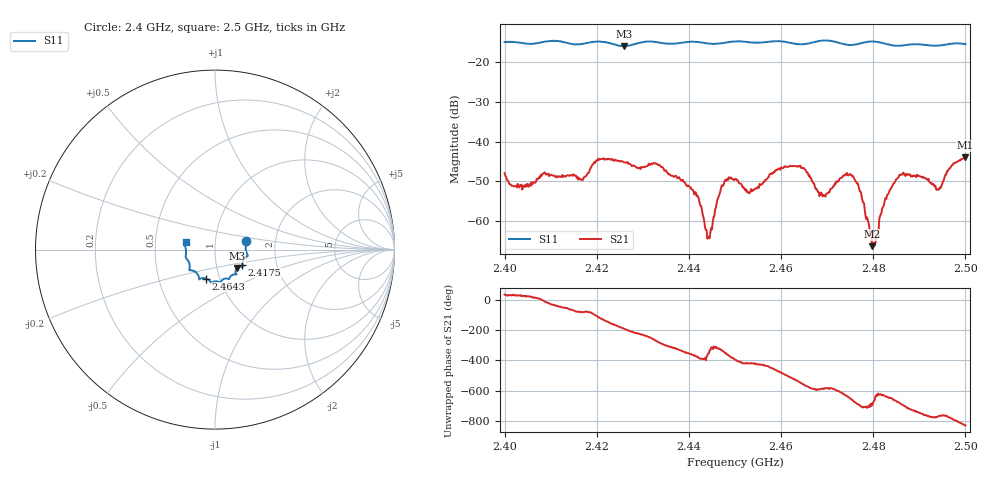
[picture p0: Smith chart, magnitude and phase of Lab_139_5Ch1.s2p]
# Hz S RI R 50
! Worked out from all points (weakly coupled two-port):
!   601 points, 2.4 GHz to 2.5 GHz, reference 50 ohm
!   highest |S21| = -43.97 dB at 2.5 GHz (marker M1); lowest = -66.3 dB at 2.4798 GHz (marker M2)
!   lowest |S11| = -16.0 dB at 2.4258 GHz (marker M3), VSWR 1.38, Z = 62.3 - j13.2 ohm
!   |S11| at or under -10 dB: start of sweep to end of sweep
!   S12 and S22 are empty: the file has one direction only
!   S11 on the Smith chart (normalised r, x): 2.4 GHz: 1.41, +0.14; 2.4175 GHz: 1.34, -0.23; 2.4643 GHz: 0.86, -0.29; 2.5 GHz: 0.72, +0.06
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2.4e9  0.1727 0.0488  0.00332 0.00226  0 0  0 0
2.402167e9  0.1753 0.0397  0.00233 0.00142  0 0  0 0
2.416667e9  0.1529 -0.0739  0.000386 -0.00328  0 0  0 0
2.4175e9  0.152 -0.0831  0.000761 -0.00354  0 0  0 0
2.420333e9  0.1543 -0.0978  -0.00243 -0.0056  0 0  0 0
2.425833e9  0.1215 -0.1032  -0.00544 0.000971  0 0  0 0
2.433333e9  0.1134 -0.1375  0.000685 0.005  0 0  0 0
2.4415e9  0.0759 -0.1648  0.00224 -0.000517  0 0  0 0
2.444167e9  0.0623 -0.1607  0.000638 6.64e-05  0 0  0 0
2.447333e9  0.0387 -0.1703  0.00255 0.00103  0 0  0 0
2.45e9  0.029 -0.1812  0.00277 -0.00193  0 0  0 0
2.453333e9  0.0151 -0.1775  0.00119 -0.00202  0 0  0 0
2.464333e9  -0.0498 -0.161  -0.00462 0.000745  0 0  0 0
2.466667e9  -0.0758 -0.1595  -0.0023 0.00224  0 0  0 0
2.4695e9  -0.0886 -0.1662  -0.00145 0.00145  0 0  0 0
2.4755e9  -0.111 -0.1227  0.00185 0.00316  0 0  0 0
2.477167e9  -0.1279 -0.1159  0.00214 0.000937  0 0  0 0
2.479833e9  -0.1435 -0.1133  0.00042 0.000238  0 0  0 0
2.483333e9  -0.1408 -0.0901  0.000607 0.00215  0 0  0 0
2.486167e9  -0.1501 -0.0615  0.00329 0.00202  0 0  0 0
2.494167e9  -0.1621 0.000173  0.00177 -0.00183  0 0  0 0
2.5e9  -0.1636 0.0431  -0.00193 -0.00603  0 0  0 0
